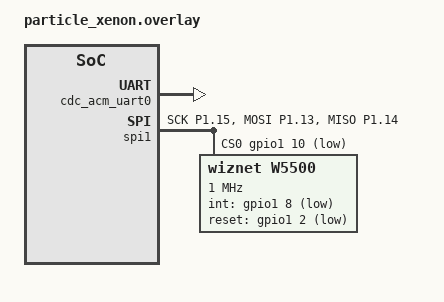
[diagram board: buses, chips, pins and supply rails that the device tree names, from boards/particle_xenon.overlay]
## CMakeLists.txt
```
#
# Copyright (c) 2021 Circuit Dojo LLC
#

cmake_minimum_required(VERSION 3.13.4)

# Determine the build type
if (NOT BUILD_TYPE)
  set(BUILD_TYPE debug)
endif()

# Print out build type
message(STATUS "Build type: ${BUILD_TYPE} 🚀")

# Overlays
list(INSERT OVERLAY_CONFIG 0 config/golioth.conf)

find_package(Zephyr REQUIRED HINTS $ENV{ZEPHYR_BASE})

project(air-quality-wing-demo)

# Application directories
add_subdirectory(src/ble)
add_subdirectory(src/event_manager)
add_subdirectory(src/network)

target_sources(app PRIVATE src/main.c)
```

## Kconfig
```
#
# Copyright (c) 2022 Circuit Dojo LLC
#

mainmenu "Air Quality Wing Zephyr Demo"

source "Kconfig.zephyr"
```

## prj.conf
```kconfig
# Heap and stacks
CONFIG_INIT_STACKS=y
CONFIG_MAIN_STACK_SIZE=4092
CONFIG_HEAP_MEM_POOL_SIZE=2048

# GPIO
CONFIG_GPIO=y

# Logging
CONFIG_LOG=y
CONFIG_CONSOLE=y

# Enable MCUboot bootloader
CONFIG_BOOTLOADER_MCUBOOT=y

# Newlibc
CONFIG_NEWLIB_LIBC=y 

# Networking
CONFIG_SPI=y
CONFIG_ETH_W5500=y

# Networking Config:
CONFIG_NETWORKING=y
CONFIG_NET_L2_ETHERNET=y
CONFIG_NET_SHELL=y
CONFIG_NET_SOCKETS=y
# CONFIG_NET_SOCKETS_POSIX_NAMES=n
CONFIG_NET_IPV4=y
CONFIG_NET_IPV6=n
CONFIG_NET_TCP=y
CONFIG_NET_ARP=y
CONFIG_NET_UDP=y
CONFIG_NET_DHCPV4=y

# Bluetooth
CONFIG_BT=y
CONFIG_BT_CENTRAL=y
CONFIG_BT_SCAN=y
CONFIG_BT_SCAN_FILTER_ENABLE=y
CONFIG_BT_SCAN_NAME_CNT=1
CONFIG_BT_SMP=y
CONFIG_BT_GATT_CLIENT=y
CONFIG_BT_GATT_DM=y
CONFIG_BT_PRIVACY=y
CONFIG_BT_MAX_CONN=4
CONFIG_BT_L2CAP_TX_BUF_COUNT=4

# TLS configuration
CONFIG_MBEDTLS_ENABLE_HEAP=y
CONFIG_MBEDTLS_HEAP_SIZE=10240
CONFIG_MBEDTLS_SSL_MAX_CONTENT_LEN=2048

# Date Time library
CONFIG_DATE_TIME=y

# Golioth
CONFIG_GOLIOTH=y
CONFIG_GOLIOTH_SYSTEM_CLIENT=y

# AQW
CONFIG_AQW=y
CONFIG_AQW_CODEC=y
```

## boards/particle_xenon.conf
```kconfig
# USB
CONFIG_USB_DEVICE_STACK=y
CONFIG_USB_DEVICE_INITIALIZE_AT_BOOT=y
CONFIG_USB_DEVICE_PRODUCT="Air Quality Wing"
CONFIG_USB_CDC_ACM_LOG_LEVEL_WRN=y

# Segger RTT
# CONFIG_USE_SEGGER_RTT=y
# CONFIG_RTT_CONSOLE=y
# CONFIG_UART_CONSOLE=n
# CONFIG_LOG_BACKEND_RTT=y
# CONFIG_LOG_BACKEND_UART=n
```

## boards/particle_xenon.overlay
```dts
/*
 * Copyright (c) 2022 Circuit Dojo LLC
 */

/ {
	chosen {
		zephyr,console = &cdc_acm_uart0;
		zephyr,shell-uart = &cdc_acm_uart0;
		zephyr,uart-mcumgr = &cdc_acm_uart0;
	};
};

&zephyr_udc0 {
	cdc_acm_uart0: cdc_acm_uart0 {
		compatible = "zephyr,cdc-acm-uart";
	};
};

&pinctrl {
	spi1_default: spi1_default {
		group1 {
			psels = <NRF_PSEL(SPIM_SCK, 1, 15)>,
				<NRF_PSEL(SPIM_MOSI, 1, 13)>,
				<NRF_PSEL(SPIM_MISO, 1, 14)>;
		};
	};

	spi1_sleep: spi1_sleep {
		group1 {
			psels = <NRF_PSEL(SPIM_SCK, 1, 15)>,
            <NRF_PSEL(SPIM_MOSI, 1, 13)>,
            <NRF_PSEL(SPIM_MISO, 1, 14)>;
			low-power-enable;
		};
	};
 };

&spi1 {
    compatible = "nordic,nrf-spi";
    status = "okay";
    cs-gpios = <&gpio1 10 GPIO_ACTIVE_LOW>;
    pinctrl-0 = <&spi1_default>;
	pinctrl-1 = <&spi1_sleep>;
	pinctrl-names = "default", "sleep";
    w5500: w5500@0 {
            compatible = "wiznet,w5500";
            reg = <0>;
            spi-max-frequency = <1000000>;
            int-gpios = <&gpio1 8 GPIO_ACTIVE_LOW>;
            reset-gpios = <&gpio1 2 GPIO_ACTIVE_LOW>;
    };
};
```

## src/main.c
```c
/**
 * @author Jared Wolff (hello@jaredwolff.com)
 * @copyright Copyright Circuit Dojo LLC 2022
 */

#include <stdlib.h>
#include <zephyr/kernel.h>
#include <zephyr/device.h>
#include <zephyr/devicetree.h>
#include <zephyr/logging/log.h>
LOG_MODULE_REGISTER(aqw_ethernet_hub_ble);

#include <date_time.h>
#include <net/golioth/system_client.h>

#include <codec/aqw.h>

#include <app_ble.h>
#include <app_event_manager.h>
#include <app_network.h>

#define SENSOR_DATA_ENTRY_COUNT 4

static struct aqw_sensor_data sensor_data[SENSOR_DATA_ENTRY_COUNT] = {0};
static uint8_t sensor_data_count = 0;

static struct golioth_client *client = GOLIOTH_SYSTEM_CLIENT_GET();

void date_time_evt(const struct date_time_evt *evt)
{

    /*Setup and connect to Golioth once we have the time*/
    golioth_system_client_start();
}

void publish(struct aqw_sensor_data *data, size_t num_entries)
{
    int err = 0;
    uint8_t buf[256];
    size_t size = 0;

    for (int i = 0; i < num_entries; i++)
    {
        char *name = aqw_sensor_type_to_string(data[i].type);
        char *unit = aqw_sensor_unit_to_string(data[i].type);
        LOG_INF("%s: %i.%i%s", name, data[i].val.val1, abs(data[i].val.val2), unit);

        /* Get the current time */
        err = date_time_now(&data[i].ts);
        if (err)
        {
            LOG_WRN("Unable to get timestamp!");
        }
    }

    struct app_codec_payload payload = {
        .data = data,
        .sensor_count = num_entries,
    };

    /* Encode CBOR data */
    err = app_codec_aqw_data_encode(&payload, buf, sizeof(buf), &size);
    if (err < 0)
    {
        LOG_ERR("Unable to encode data. Err: %i", err);
        return;
    }

    LOG_DBG("Data size: %i", size);

    /* Publish gps data */
    err = golioth_lightdb_set(client,
                              "env",
                              COAP_CONTENT_FORMAT_APP_CBOR,
                              buf, size);
    if (err)
    {
        LOG_WRN("Failed to send data: %d", err);
    }
}

void main(void)
{
    int err;

    LOG_INF("Air Quality Wing Ethernet Hub");

    /* Init network */
    app_net_init();

    /* Init Bluetooth Central */
    app_ble_init();

    while (true)
    {

        struct app_event evt = {0};
        app_event_manager_get(&evt);

        LOG_DBG("Incoming %s", app_event_type_to_string(evt.type));

        switch (evt.type)
        {
        case APP_EVENT_BLE_DATA:

            sensor_data[sensor_data_count] = evt.data;
            sensor_data_count++;

            /* Publish if we're full */
            if (sensor_data_count == SENSOR_DATA_ENTRY_COUNT)
            {
                publish(sensor_data, SENSOR_DATA_ENTRY_COUNT);
                sensor_data_count = 0;
            }

            break;
        case APP_EVENT_ETHERNET_READY:

            /* Force time update */
            err = date_time_update_async(date_time_evt);
            if (err)
            {
                LOG_ERR("Unable to update time with date_time_update_async. Err: %i", err);
            }

            break;
        default:
            break;
        }
    }
}
```
